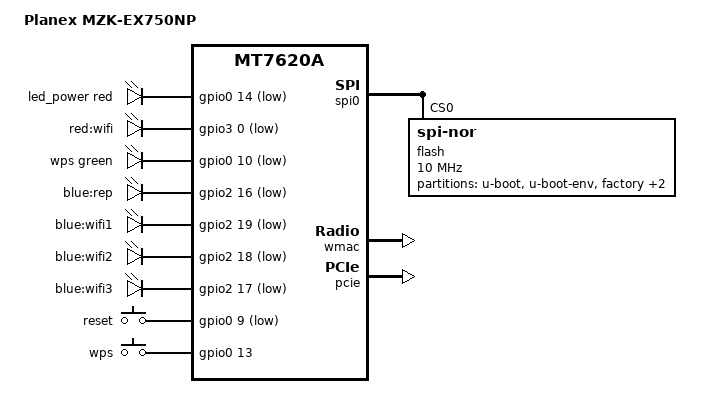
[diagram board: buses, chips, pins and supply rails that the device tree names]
#include "mt7620a.dtsi"

#include <dt-bindings/gpio/gpio.h>
#include <dt-bindings/input/input.h>
#include <dt-bindings/leds/common.h>

/ {
	compatible = "planex,mzk-ex750np", "ralink,mt7620a-soc";
	model = "Planex MZK-EX750NP";

	aliases {
		led-boot = &led_power;
		led-failsafe = &led_power;
		led-running = &led_power;
		led-upgrade = &led_power;
	};

	leds {
		compatible = "gpio-leds";

		led_power: power {
			function = LED_FUNCTION_POWER;
			color = <LED_COLOR_ID_RED>;
			gpios = <&gpio0 14 GPIO_ACTIVE_LOW>;
		};

		wifi {
			label = "red:wifi";
			gpios = <&gpio3 0 GPIO_ACTIVE_LOW>;
		};

		wps {
			function = LED_FUNCTION_WPS;
			color = <LED_COLOR_ID_GREEN>;
			gpios = <&gpio0 10 GPIO_ACTIVE_LOW>;
		};

		rep {
			label = "blue:rep";
			gpios = <&gpio2 16 GPIO_ACTIVE_LOW>;
		};

		wifi1 {
			label = "blue:wifi1";
			gpios = <&gpio2 19 GPIO_ACTIVE_LOW>;
		};

		wifi2 {
			label = "blue:wifi2";
			gpios = <&gpio2 18 GPIO_ACTIVE_LOW>;
		};

		wifi3 {
			label = "blue:wifi3";
			gpios = <&gpio2 17 GPIO_ACTIVE_LOW>;
		};
	};

	keys {
		compatible = "gpio-keys";

		reset {
			label = "reset";
			gpios = <&gpio0 9 GPIO_ACTIVE_LOW>;
			linux,code = <KEY_RESTART>;
		};

		wps {
			label = "wps";
			gpios = <&gpio0 13 GPIO_ACTIVE_HIGH>;
			linux,code = <KEY_RFKILL>;
		};
	};
};

&gpio2 {
	status = "okay";
};

&gpio3 {
	status = "okay";
};

&spi0 {
	status = "okay";

	flash@0 {
		compatible = "jedec,spi-nor";
		reg = <0>;
		spi-max-frequency = <10000000>;

		partitions {
			compatible = "fixed-partitions";
			#address-cells = <1>;
			#size-cells = <1>;

			partition@0 {
				label = "u-boot";
				reg = <0x0 0x30000>;
				read-only;
			};

			partition@30000 {
				label = "u-boot-env";
				reg = <0x30000 0x10000>;
				read-only;
			};

			partition@40000 {
				label = "factory";
				reg = <0x40000 0x10000>;
				read-only;

				nvmem-layout {
					compatible = "fixed-layout";
					#address-cells = <1>;
					#size-cells = <1>;

					eeprom_factory_0: eeprom@0 {
						reg = <0x0 0x200>;
					};

					eeprom_factory_8000: eeprom@8000 {
						reg = <0x8000 0x200>;
					};

					macaddr_factory_4: macaddr@4 {
						reg = <0x4 0x6>;
					};
				};
			};

			partition@50000 {
				compatible = "denx,uimage";
				label = "firmware";
				reg = <0x50000 0x730000>;
			};

			partition@780000 {
				label = "Udata";
				reg = <0x780000 0x80000>;
			};
		};
	};
};

&state_default {
	gpio {
		groups = "uartf", "nd_sd", "rgmii2", "wled";
		function = "gpio";
	};
};

&ethernet {
	pinctrl-names = "default";
	pinctrl-0 = <&ephy_pins>;

	nvmem-cells = <&macaddr_factory_4>;
	nvmem-cell-names = "mac-address";

	mediatek,portmap = "llllw";
};

&wmac {
	nvmem-cells = <&eeprom_factory_0>;
	nvmem-cell-names = "eeprom";
};

&pcie {
	status = "okay";
};

&pcie0 {
	mt76@0,0 {
		reg = <0x0000 0 0 0 0>;
		nvmem-cells = <&eeprom_factory_8000>;
		nvmem-cell-names = "eeprom";
	};
};
